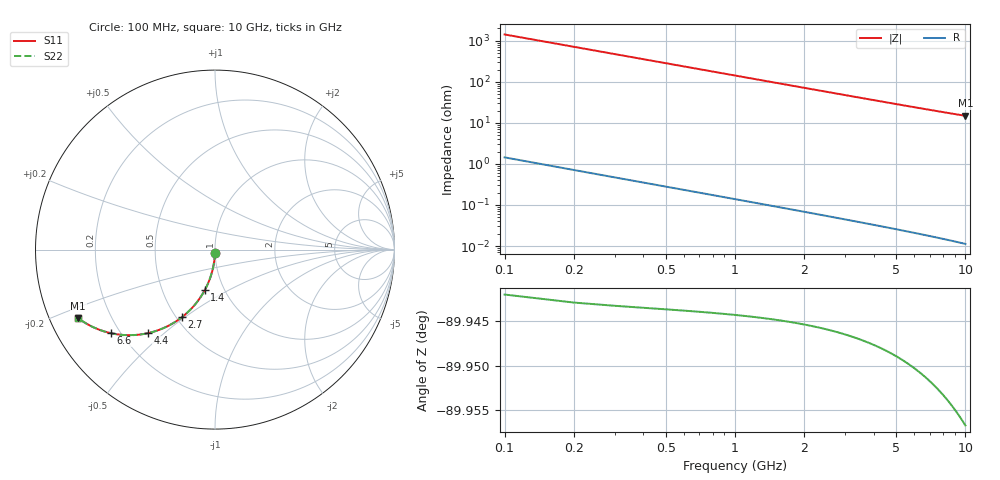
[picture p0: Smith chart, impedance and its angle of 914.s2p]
# Hz S RI R 50.00
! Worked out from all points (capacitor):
!   100 points, 100 MHz to 10 GHz, reference 50 ohm
!   read as one part in shunt: C = 1.12 pF near 100 MHz
!   lowest |Z| = 14.9 ohm at 10 GHz (marker M1)
!   S11 on the Smith chart (normalised r, x): 100 MHz: 1.00, -0.03; 1.4 GHz: 0.81, -0.39; 2.7 GHz: 0.53, -0.49; 4.4 GHz: 0.30, -0.44; 6.6 GHz: 0.17, -0.34; 10 GHz: 0.08, -0.23
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1e8  -0.000195 -0.0171  0.9995 -0.0179  0.9995 -0.0179  -0.000195 -0.0171
2e8  -0.00113 -0.0342  0.9986 -0.0358  0.9986 -0.0358  -0.00113 -0.0342
3e8  -0.00267 -0.0512  0.9971 -0.0536  0.9971 -0.0536  -0.00267 -0.0512
4e8  -0.00482 -0.0681  0.9949 -0.0713  0.9949 -0.0713  -0.00482 -0.0681
5e8  -0.00756 -0.0849  0.9922 -0.0889  0.9922 -0.0889  -0.00756 -0.0849
6e8  -0.0109 -0.1015  0.9888 -0.1064  0.9888 -0.1064  -0.0109 -0.1015
7e8  -0.0148 -0.118  0.9849 -0.1236  0.9849 -0.1236  -0.0148 -0.118
9e8  -0.0243 -0.1502  0.9754 -0.1574  0.9754 -0.1574  -0.0243 -0.1502
1.1e9  -0.0358 -0.1814  0.9638 -0.1902  0.9638 -0.1902  -0.0358 -0.1814
1.4e9  -0.0568 -0.2257  0.9428 -0.237  0.9428 -0.237  -0.0568 -0.2257
1.8e9  -0.0907 -0.2796  0.9089 -0.2942  0.9089 -0.2942  -0.0907 -0.2796
2.2e9  -0.1298 -0.3269  0.8698 -0.3447  0.8698 -0.3447  -0.1298 -0.3269
2.7e9  -0.1836 -0.3759  0.8159 -0.3978  0.8159 -0.3978  -0.1836 -0.3759
3.4e9  -0.2633 -0.4263  0.736 -0.4539  0.736 -0.4539  -0.2633 -0.4263
4.4e9  -0.3754 -0.4659  0.6237 -0.5018  0.6237 -0.5018  -0.3754 -0.4659
5.1e9  -0.4476 -0.4759  0.5512 -0.5176  0.5512 -0.5176  -0.4476 -0.4759
5.8e9  -0.5127 -0.4755  0.4859 -0.5231  0.4859 -0.5231  -0.5127 -0.4755
6.6e9  -0.5778 -0.4661  0.4204 -0.5204  0.4204 -0.5204  -0.5778 -0.4661
6.7e9  -0.5853 -0.4644  0.4129 -0.5196  0.4129 -0.5196  -0.5853 -0.4644
7.5e9  -0.64 -0.4481  0.3578 -0.5102  0.3578 -0.5102  -0.64 -0.4481
8.4e9  -0.6917 -0.4257  0.3055 -0.4956  0.3055 -0.4956  -0.6917 -0.4257
1e10  -0.7629 -0.3815  0.2332 -0.4656  0.2332 -0.4656  -0.7629 -0.3815
